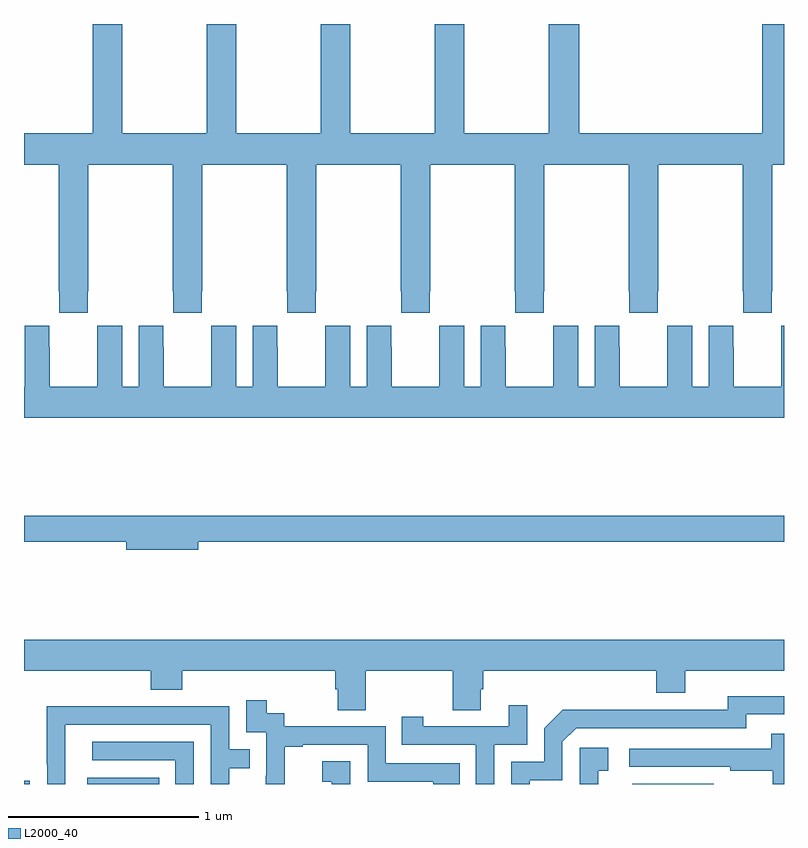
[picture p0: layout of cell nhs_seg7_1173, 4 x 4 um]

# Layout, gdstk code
import gdstk
lib = gdstk.Library(unit=1e-6, precision=1e-09)
def R(c, l, rs):  # rectangles x0, y0, x1, y1
    for r in rs: c.add(gdstk.rectangle(r[:2], r[2:], *l))
def P(c, l, *ps):  # polygons
    for p in ps: c.add(gdstk.Polygon(p, *l))
L2000_40 = (2000, 40)

nhs_seg7_1173 = lib.new_cell('nhs_seg7_1173')
R(nhs_seg7_1173, L2000_40, [(193,1020,193.029,1020.016), (193.334,1020,193.712,1020.034), (196.202,1020,196.63,1020.001)])
P(nhs_seg7_1173, L2000_40, [(193.783,1022.593),(193.785,1022.593),(193.785,1022.481),(193.935,1022.481),(193.935,1022.593),(193.938,1022.593),(193.938,1023.26),(194.383,1023.26),(194.383,1022.593),(194.385,1022.593),(194.385,1022.481),(194.535,1022.481),(194.535,1022.593),(194.538,1022.593),(194.538,1023.26),(194.983,1023.26),(194.983,1022.593),(194.985,1022.593),(194.985,1022.481),(195.135,1022.481),(195.135,1022.593),(195.138,1022.593),(195.138,1023.26),(195.583,1023.26),(195.583,1022.593),(195.585,1022.593),(195.585,1022.481),(195.735,1022.481),(195.735,1022.593),(195.738,1022.593),(195.738,1023.26),(196.183,1023.26),(196.183,1022.593),(196.185,1022.593),(196.185,1022.481),(196.335,1022.481),(196.335,1022.593),(196.338,1022.593),(196.338,1023.26),(196.783,1023.26),(196.783,1022.593),(196.785,1022.593),(196.785,1022.481),(196.935,1022.481),(196.935,1022.593),(196.938,1022.593),(196.938,1023.26),(197,1023.26),(197,1024),(196.886,1024),(196.886,1023.424),(195.923,1023.424),(195.923,1024),(195.763,1024),(195.763,1023.424),(195.318,1023.424),(195.318,1024),(195.163,1024),(195.163,1023.424),(194.718,1023.424),(194.718,1024),(194.563,1024),(194.563,1023.424),(194.118,1023.424),(194.118,1024),(193.963,1024),(193.963,1023.424),(193.518,1023.424),(193.518,1024),(193.363,1024),(193.363,1023.424),(193,1023.424),(193,1023.26),(193.183,1023.26),(193.183,1022.593),(193.185,1022.593),(193.185,1022.481),(193.335,1022.481),(193.335,1022.593),(193.338,1022.593),(193.338,1023.26),(193.783,1023.26)],
  [(197,1022.413),(196.986,1022.413),(196.986,1022.3),(196.985,1022.3),(196.985,1022.092),(196.735,1022.092),(196.735,1022.3),(196.734,1022.3),(196.734,1022.413),(196.604,1022.413),(196.604,1022.092),(196.516,1022.092),(196.516,1022.413),(196.386,1022.413),(196.386,1022.3),(196.385,1022.3),(196.385,1022.092),(196.135,1022.092),(196.135,1022.3),(196.134,1022.3),(196.134,1022.413),(196.004,1022.413),(196.004,1022.092),(195.916,1022.092),(195.916,1022.413),(195.786,1022.413),(195.786,1022.3),(195.785,1022.3),(195.785,1022.092),(195.535,1022.092),(195.535,1022.3),(195.534,1022.3),(195.534,1022.413),(195.404,1022.413),(195.404,1022.092),(195.316,1022.092),(195.316,1022.413),(195.186,1022.413),(195.186,1022.3),(195.185,1022.3),(195.185,1022.092),(194.935,1022.092),(194.935,1022.3),(194.934,1022.3),(194.934,1022.413),(194.804,1022.413),(194.804,1022.092),(194.716,1022.092),(194.716,1022.413),(194.586,1022.413),(194.586,1022.3),(194.585,1022.3),(194.585,1022.092),(194.335,1022.092),(194.335,1022.3),(194.334,1022.3),(194.334,1022.413),(194.204,1022.413),(194.204,1022.092),(194.116,1022.092),(194.116,1022.413),(193.986,1022.413),(193.986,1022.3),(193.985,1022.3),(193.985,1022.092),(193.735,1022.092),(193.735,1022.3),(193.734,1022.3),(193.734,1022.413),(193.604,1022.413),(193.604,1022.092),(193.516,1022.092),(193.516,1022.413),(193.386,1022.413),(193.386,1022.3),(193.385,1022.3),(193.385,1022.092),(193.135,1022.092),(193.135,1022.3),(193.134,1022.3),(193.134,1022.413),(193.004,1022.413),(193.004,1022.092),(193,1022.092),(193,1021.928),(197,1021.928)],
  [(193.918,1021.276),(197,1021.276),(197,1021.412),(193,1021.412),(193,1021.276),(193.538,1021.276),(193.538,1021.234),(193.918,1021.234)],
  [(194.799,1020.596),(195.256,1020.596),(195.256,1020.388),(195.403,1020.388),(195.403,1020.498),(195.416,1020.498),(195.416,1020.596),(196.328,1020.596),(196.328,1020.479),(196.48,1020.479),(196.48,1020.596),(197,1020.596),(197,1020.76),(193,1020.76),(193,1020.596),(193.667,1020.596),(193.667,1020.497),(193.832,1020.497),(193.832,1020.596),(194.639,1020.596),(194.639,1020.498),(194.651,1020.498),(194.651,1020.388),(194.799,1020.388)],
  [(195.661,1020.021),(195.834,1020.021),(195.834,1020.222),(195.906,1020.294),(196.8,1020.294),(196.8,1020.366),(197,1020.366),(197,1020.463),(196.704,1020.463),(196.704,1020.39),(196.244,1020.39),(196.244,1020.392),(195.836,1020.392),(195.738,1020.294),(195.738,1020.117),(195.564,1020.117),(195.564,1020),(195.661,1020)],
  [(194.372,1020.195),(194.467,1020.195),(194.467,1020.207),(194.808,1020.207),(194.808,1020.012),(195.153,1020.012),(195.153,1020),(195.293,1020),(195.293,1020.108),(194.904,1020.108),(194.904,1020.303),(194.37,1020.303),(194.37,1020.372),(194.278,1020.372),(194.278,1020.442),(194.169,1020.442),(194.169,1020.273),(194.274,1020.273),(194.274,1020.044),(194.273,1020.044),(194.273,1020),(194.372,1020)],
  [(195.474,1020.207),(195.648,1020.207),(195.648,1020.415),(195.551,1020.415),(195.551,1020.303),(195.1,1020.303),(195.1,1020.355),(194.989,1020.355),(194.989,1020.207),(195.378,1020.207),(195.378,1020),(195.474,1020)],
  [(193.218,1020.312),(193.983,1020.312),(193.983,1020),(194.079,1020),(194.079,1020.082),(194.189,1020.082),(194.189,1020.183),(194.079,1020.183),(194.079,1020.408),(193.583,1020.408),(193.583,1020.41),(193.12,1020.41),(193.12,1020.103),(193.122,1020.103),(193.122,1020),(193.218,1020)],
  [(197,1020.265),(196.933,1020.265),(196.933,1020.186),(196.185,1020.186),(196.185,1020.09),(196.717,1020.09),(196.717,1020.07),(196.941,1020.07),(196.941,1020),(197,1020)],
  [(193.893,1020.222),(193.359,1020.222),(193.359,1020.126),(193.797,1020.126),(193.797,1020),(193.893,1020)],
  [(196.022,1020.069),(196.075,1020.069),(196.075,1020.19),(195.924,1020.19),(195.924,1020),(196.022,1020)],
  [(194.718,1020.121),(194.571,1020.121),(194.571,1020.011),(194.62,1020.011),(194.62,1020),(194.718,1020)])

lib.write_gds('nhs_seg7_1173.gds')
